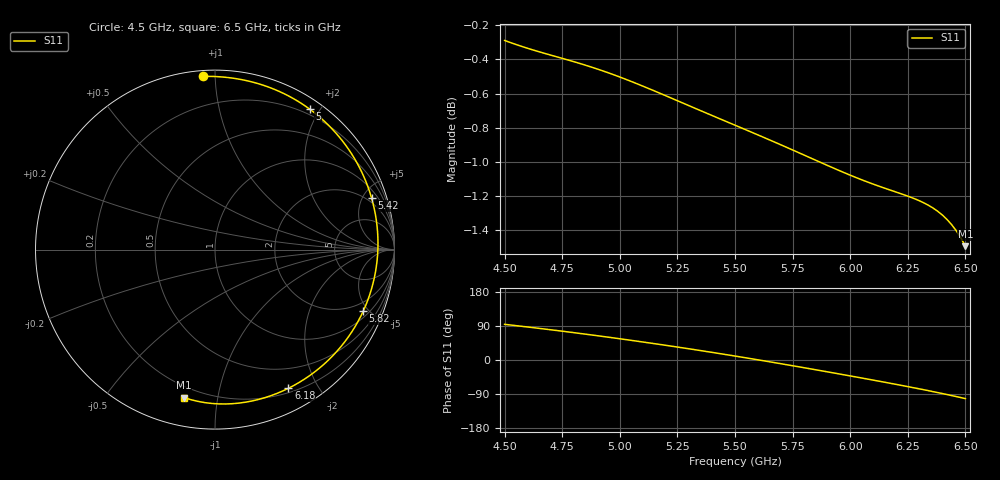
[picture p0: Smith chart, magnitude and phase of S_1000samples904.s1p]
! TOUCHSTONE file generated by CST MICROWAVE STUDIO
! Date and time: Sat Oct 29 18:20:51 2022
! Project name: L.cst
! Parameters = {Di=1.27; Epsilon_r=1.56; InnerDiameter=1.27; Length=2; Lf=10; Lg=60; OuterConductorThickness=0.2921; OuterDiameter=3.6; Wf=3; Wp=41.2; de=1.5; df=6.8; g=0.8; gx=4.38745; gy=3.5856; h=2.34; hf=1.524; px=8.59806; py=13.2996; w=9.7; wx=4.2106; wy=9.71397}
! Header version: 2018
! Port assignment regex: !\s*Touchstone port\s*([0-9]+)\s*=\s*(CST MWS port|CST DS port)\s*([0-9]+|Zmin|Zmax)\s*\(\"(.*)\"\)(\s*mode\s*([0-9]+))?.*
! Touchstone port assignment:
! Touchstone port 1 = CST MWS port 1 ("")
# GHz S DB R 50
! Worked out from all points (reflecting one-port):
!   101 points, 4.5 GHz to 6.5 GHz, reference 50 ohm
!   lowest |S11| = -1.5 dB at 6.5 GHz (marker M1), VSWR 11.67, Z = 7.07 - j40.1 ohm
!   phase of S11 starts at 94 deg and turns -196 deg over the sweep
!   S11 on the Smith chart (normalised r, x): 4.5 GHz: 0.03, +0.93; 5 GHz: 0.13, +1.87; 5.42 GHz: 1.58, +5.81; 5.82 GHz: 1.36, -4.64; 6.18 GHz: 0.25, -1.63; 6.5 GHz: 0.14, -0.80
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4.5  -0.29 94.1
4.58  -0.33 88.5
4.64  -0.35 84.2
4.76  -0.40 75.3
4.88  -0.45 65.9
4.94  -0.47 61.0
5  -0.50 56.0
5.06  -0.53 51.0
5.12  -0.57 45.8
5.18  -0.60 40.5
5.26  -0.65 33.3
5.34  -0.69 25.8
5.42  -0.74 18.2
5.5  -0.78 10.4
5.58  -0.83 2.4
5.64  -0.86 -3.7
5.7  -0.90 -9.9
5.76  -0.94 -16.2
5.82  -0.97 -22.5
5.9  -1.02 -31.1
6  -1.08 -42.0
6.1  -1.13 -53.1
6.18  -1.17 -62.1
6.26  -1.20 -71.4
6.32  -1.24 -78.6
6.38  -1.29 -86.0
6.44  -1.37 -93.8
6.5  -1.49 -101.9
